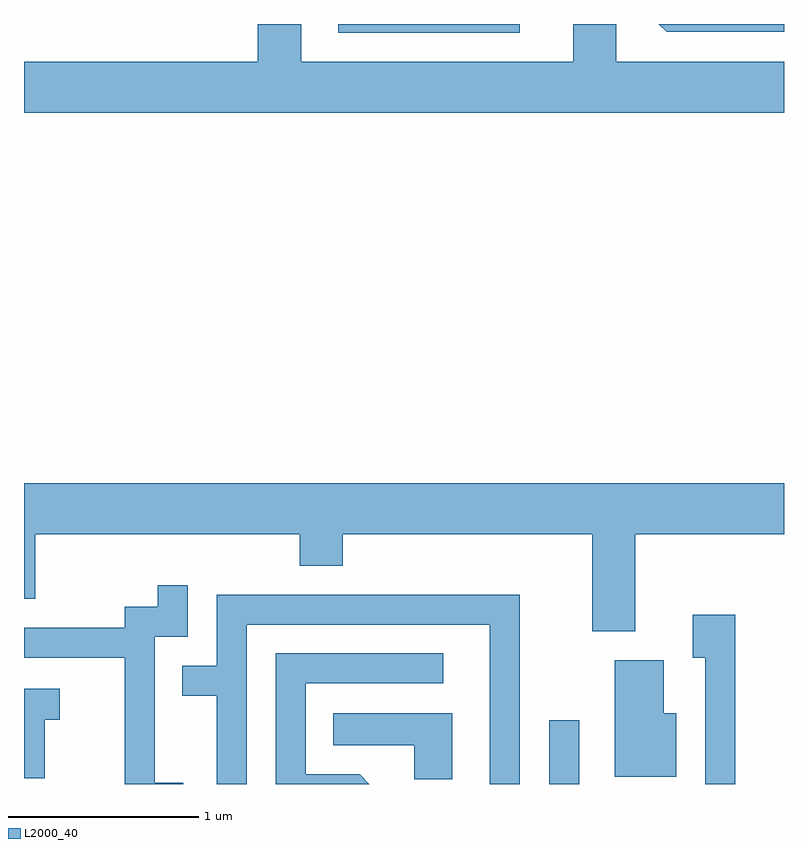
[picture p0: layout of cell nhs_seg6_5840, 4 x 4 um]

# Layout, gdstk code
import gdstk
lib = gdstk.Library(unit=1e-6, precision=1e-09)
def R(c, l, rs):  # rectangles x0, y0, x1, y1
    for r in rs: c.add(gdstk.rectangle(r[:2], r[2:], *l))
def P(c, l, *ps):  # polygons
    for p in ps: c.add(gdstk.Polygon(p, *l))
L2000_40 = (2000, 40)

nhs_seg6_5840 = lib.new_cell('nhs_seg6_5840')
R(nhs_seg6_5840, L2000_40, [(364.376,1664.162,364.534,1664.498), (363.266,1668.116,364.219,1668.162)])
P(nhs_seg6_5840, L2000_40, [(365.611,1667.964),(364.729,1667.964),(364.729,1668.162),(364.501,1668.162),(364.501,1667.964),(363.069,1667.964),(363.069,1668.162),(362.841,1668.162),(362.841,1667.964),(361.611,1667.964),(361.611,1667.696),(365.611,1667.696)],
  [(365.611,1668.162),(364.953,1668.162),(364.994,1668.121),(365.611,1668.121)],
  [(364.829,1665.476),(365.611,1665.476),(365.611,1665.744),(361.611,1665.744),(361.611,1665.136),(361.669,1665.136),(361.669,1665.476),(363.061,1665.476),(363.061,1665.311),(363.289,1665.311),(363.289,1665.476),(364.601,1665.476),(364.601,1664.966),(364.829,1664.966)],
  [(362.449,1664.169),(362.299,1664.169),(362.299,1664.936),(362.474,1664.936),(362.474,1665.208),(362.316,1665.208),(362.316,1665.094),(362.141,1665.094),(362.141,1664.984),(361.611,1664.984),(361.611,1664.826),(362.141,1664.826),(362.141,1664.162),(362.449,1664.162)],
  [(362.784,1665.001),(364.061,1665.001),(364.061,1664.162),(364.219,1664.162),(364.219,1665.159),(362.626,1665.159),(362.626,1664.784),(362.443,1664.784),(362.443,1664.626),(362.626,1664.626),(362.626,1664.162),(362.784,1664.162)],
  [(365.354,1665.054),(365.131,1665.054),(365.131,1664.826),(365.196,1664.826),(365.196,1664.162),(365.354,1664.162)],
  [(363.377,1664.214),(363.094,1664.214),(363.094,1664.691),(363.818,1664.691),(363.818,1664.849),(362.936,1664.849),(362.936,1664.162),(363.429,1664.162)],
  [(365.044,1664.534),(364.979,1664.534),(364.979,1664.814),(364.721,1664.814),(364.721,1664.201),(365.044,1664.201)],
  [(361.719,1664.501),(361.798,1664.501),(361.798,1664.664),(361.611,1664.664),(361.611,1664.191),(361.719,1664.191)],
  [(363.864,1664.534),(363.238,1664.534),(363.238,1664.366),(363.666,1664.366),(363.666,1664.186),(363.864,1664.186)])

lib.write_gds('nhs_seg6_5840.gds')
